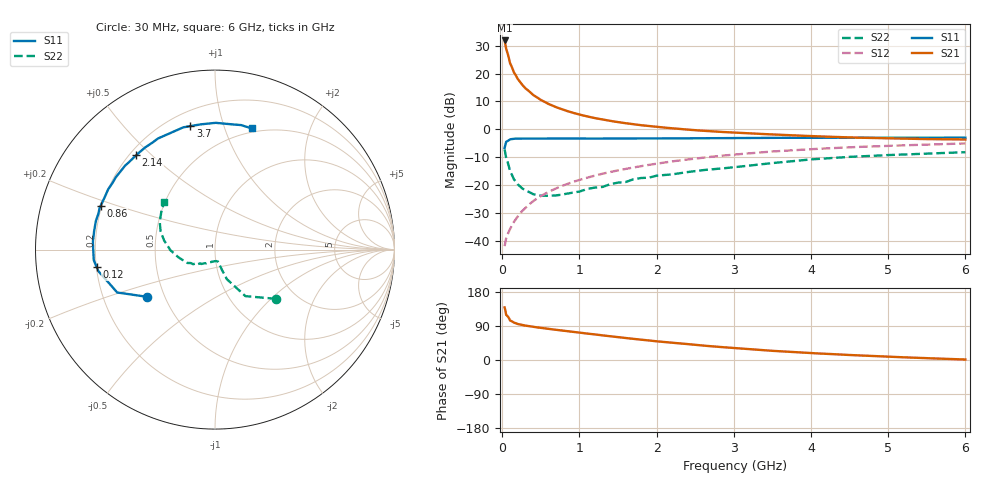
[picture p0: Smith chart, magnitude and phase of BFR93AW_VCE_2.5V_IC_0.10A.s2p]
! Infineon Technologies  Discrete & RF Semiconductors
! BFR93AW
! VCE =  2.5 V,  IC = 0.10 A
! Common Emitter S-Parameters:  Nov 2015
# GHz  S  MA  R  50
!  f  S11  S21  S12  S22
! GHz  MAG  ANG  MAG  ANG  MAG  ANG  MAG  ANG
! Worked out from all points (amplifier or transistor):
!   206 points, 30 MHz to 6 GHz, reference 50 ohm
!   highest |S21| = 31.9 dB at 30 MHz (marker M1)
!   |S21| within 3 dB of that: start of sweep to 50.4 MHz
!   unconditionally stable (mu >= 1): 70.68 MHz to end of sweep
!   at 200 MHz: K = 1.30, MAG = 21.4 dB, |S12| = -31.3 dB
!   at 1.56 GHz: K = 1.22, MAG = 5.5 dB, |S12| = -14.4 dB
!   at 6 GHz: K = 1.03, MAG = -0.4 dB, |S12| = -5.1 dB
!   S11 on the Smith chart (normalised r, x): 30 MHz: 0.40, -0.27; 120 MHz: 0.20, -0.07; 860 MHz: 0.20, +0.18; 2.14 GHz: 0.23, +0.45; 3.7 GHz: 0.29, +0.78; 6 GHz: 0.46, +1.24
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0.03  0.4628 -145.4  39.15 138.8  0.008 59.4  0.4378 -38.8
0.05  0.595 -156.3  27.82 119.2  0.0111 59.2  0.3099 -56.8
0.1  0.6605 -169.5  15.42 104.4  0.0162 64.0  0.1777 -68.1
0.12  0.6667 -171.7  13.45 102.6  0.0184 66.3  0.1574 -68.9
0.15  0.6779 -175.0  10.52 98.7  0.0218 68.8  0.1271 -70.7
0.2  0.6782 -178.8  8.011 95.0  0.0272 71.6  0.1029 -72.1
0.26  0.6799 177.9  6.241 92.4  0.0344 73.2  0.0866 -72.9
0.3  0.6816 176.3  5.42 90.7  0.0388 74.2  0.0804 -73.6
0.4  0.6813 172.2  4.119 87.5  0.0513 75.2  0.0686 -76.3
0.5  0.6817 169.0  3.352 84.7  0.0635 75.7  0.0644 -82.8
0.6  0.6825 166.3  2.84 82.2  0.075 76.0  0.064 -87.9
0.7  0.6797 163.1  2.482 79.5  0.0874 75.5  0.0652 -94.2
0.86  0.6822 158.9  2.082 75.7  0.1067 74.5  0.0708 -105.4
1.04  0.6804 154.3  1.778 71.3  0.1283 73.1  0.0795 -115.3
1.5  0.684 143.9  1.341 60.3  0.1831 68.6  0.1104 -133.3
2.02  0.6839 132.3  1.096 48.9  0.2438 62.6  0.148 -146.9
2.14  0.6849 129.9  1.06 46.8  0.258 61.2  0.1526 -149.8
3.1  0.6952 111.4  0.857 30.2  0.3602 49.3  0.2153 -170.5
3.7  0.7015 101.3  0.785 21.9  0.4151 41.8  0.2625 176.1
4.1  0.7023 95.1  0.745 17.2  0.4468 36.9  0.2939 168.0
5.1  0.7038 82.6  0.683 7.9  0.51 25.5  0.3483 151.5
6  0.7054 73.1  0.656 1.3  0.5567 16.3  0.3877 136.9
